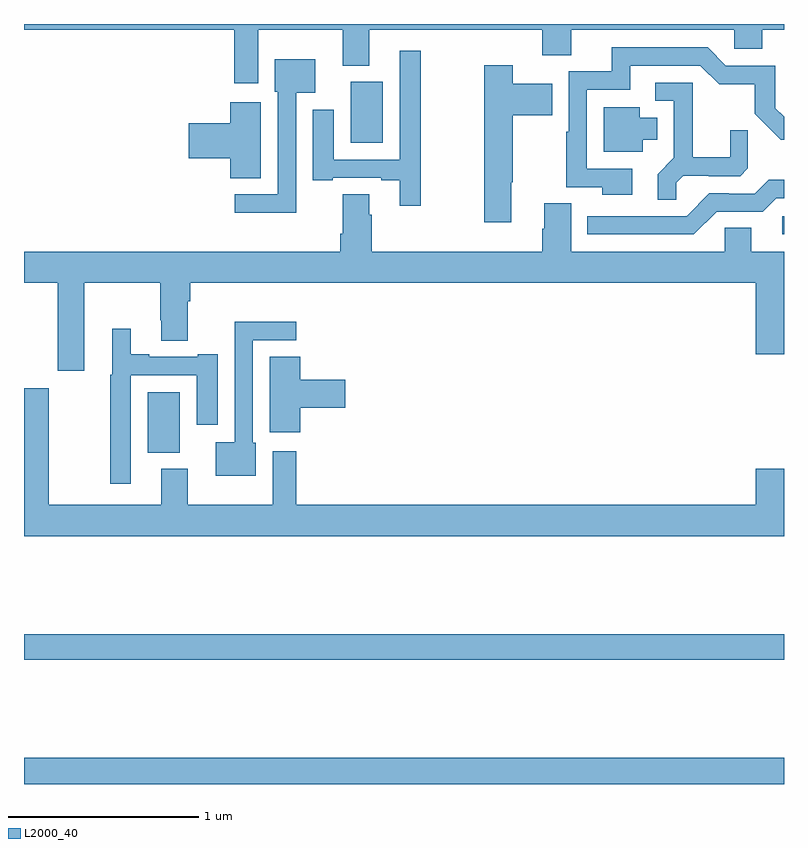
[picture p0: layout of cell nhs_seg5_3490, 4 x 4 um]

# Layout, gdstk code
import gdstk
lib = gdstk.Library(unit=1e-6, precision=1e-09)
def R(c, l, rs):  # rectangles x0, y0, x1, y1
    for r in rs: c.add(gdstk.rectangle(r[:2], r[2:], *l))
def P(c, l, *ps):  # polygons
    for p in ps: c.add(gdstk.Polygon(p, *l))
L2000_40 = (2000, 40)

nhs_seg5_3490 = lib.new_cell('nhs_seg5_3490')
R(nhs_seg5_3490, L2000_40, [(317,844.799,321,844.936), (317,845.452,321,845.588), (317.651,846.542,317.821,846.862), (320.991,847.692,321,847.788), (318.719,848.174,318.889,848.494)])
P(nhs_seg5_3490, L2000_40, [(318.232,848.768),(318.677,848.768),(318.677,848.579),(318.817,848.579),(318.817,848.768),(319.727,848.768),(319.727,848.635),(319.879,848.635),(319.879,848.768),(320.739,848.768),(320.739,848.67),(320.886,848.67),(320.886,848.768),(321,848.768),(321,848.799),(317,848.799),(317,848.768),(318.107,848.768),(318.107,848.487),(318.232,848.487)],
  [(320.2,848.037),(319.962,848.037),(319.962,848.454),(320.191,848.454),(320.191,848.58),(320.559,848.58),(320.658,848.482),(320.847,848.482),(320.847,848.326),(320.984,848.189),(321,848.189),(321,848.31),(320.955,848.355),(320.955,848.58),(320.694,848.58),(320.598,848.676),(320.093,848.676),(320.093,848.55),(319.866,848.55),(319.866,848.231),(319.854,848.231),(319.854,847.941),(320.044,847.941),(320.044,847.901),(320.2,847.901)],
  [(319.087,848.659),(318.978,848.659),(318.978,848.085),(318.631,848.085),(318.631,848.347),(318.521,848.347),(318.521,847.977),(318.625,847.977),(318.625,847.989),(318.881,847.989),(318.881,847.977),(318.977,847.977),(318.977,847.842),(319.087,847.842)],
  [(318.432,848.438),(318.532,848.438),(318.532,848.614),(318.32,848.614),(318.32,848.442),(318.336,848.442),(318.336,847.902),(318.108,847.902),(318.108,847.805),(318.432,847.805)],
  [(319.564,847.967),(319.572,847.967),(319.572,848.32),(319.781,848.32),(319.781,848.485),(319.572,848.485),(319.572,848.581),(319.423,848.581),(319.423,847.755),(319.564,847.755)],
  [(320.433,847.964),(320.47,848.001),(320.604,848.001),(320.604,847.998),(320.769,847.998),(320.81,848.039),(320.81,848.241),(320.716,848.241),(320.716,848.098),(320.519,848.098),(320.519,848.49),(320.322,848.49),(320.322,848.394),(320.421,848.394),(320.421,848.095),(320.335,848.009),(320.335,847.873),(320.433,847.873)],
  [(318.247,848.386),(318.086,848.386),(318.086,848.276),(317.868,848.276),(317.868,848.093),(318.086,848.093),(318.086,847.987),(318.247,847.987)],
  [(320.257,848.189),(320.332,848.189),(320.332,848.305),(320.242,848.305),(320.242,848.362),(320.051,848.362),(320.051,848.126),(320.257,848.126)],
  [(320.646,847.812),(320.889,847.812),(320.958,847.881),(321,847.881),(321,847.978),(320.92,847.978),(320.847,847.905),(320.708,847.905),(320.708,847.908),(320.607,847.908),(320.487,847.788),(319.964,847.788),(319.964,847.692),(320.526,847.692)],
  [(317.317,847.436),(317.716,847.436),(317.716,847.24),(317.723,847.24),(317.723,847.132),(317.863,847.132),(317.863,847.34),(317.876,847.34),(317.876,847.436),(320.852,847.436),(320.852,847.062),(321,847.062),(321,847.6),(320.827,847.6),(320.827,847.727),(320.688,847.727),(320.688,847.6),(319.879,847.6),(319.879,847.856),(319.739,847.856),(319.739,847.722),(319.727,847.722),(319.727,847.6),(318.83,847.6),(318.83,847.796),(318.817,847.796),(318.817,847.904),(318.677,847.904),(318.677,847.696),(318.665,847.696),(318.665,847.6),(317,847.6),(317,847.436),(317.177,847.436),(317.177,846.975),(317.317,846.975)],
  [(318.22,846.594),(318.204,846.594),(318.204,847.134),(318.433,847.134),(318.433,847.232),(318.108,847.232),(318.108,846.598),(318.008,846.598),(318.008,846.422),(318.22,846.422)],
  [(317.562,846.951),(317.909,846.951),(317.909,846.69),(318.019,846.69),(318.019,847.06),(317.915,847.06),(317.915,847.047),(317.659,847.047),(317.659,847.06),(317.563,847.06),(317.563,847.195),(317.465,847.195),(317.465,846.954),(317.454,846.954),(317.454,846.378),(317.562,846.378)],
  [(318.455,846.779),(318.691,846.779),(318.691,846.926),(318.455,846.926),(318.455,847.049),(318.293,847.049),(318.293,846.651),(318.455,846.651)],
  [(321,846.457),(320.852,846.457),(320.852,846.268),(318.434,846.268),(318.434,846.55),(318.308,846.55),(318.308,846.268),(317.863,846.268),(317.863,846.457),(317.723,846.457),(317.723,846.268),(317.131,846.268),(317.131,846.883),(317,846.883),(317,846.104),(321,846.104)])

lib.write_gds('nhs_seg5_3490.gds')
